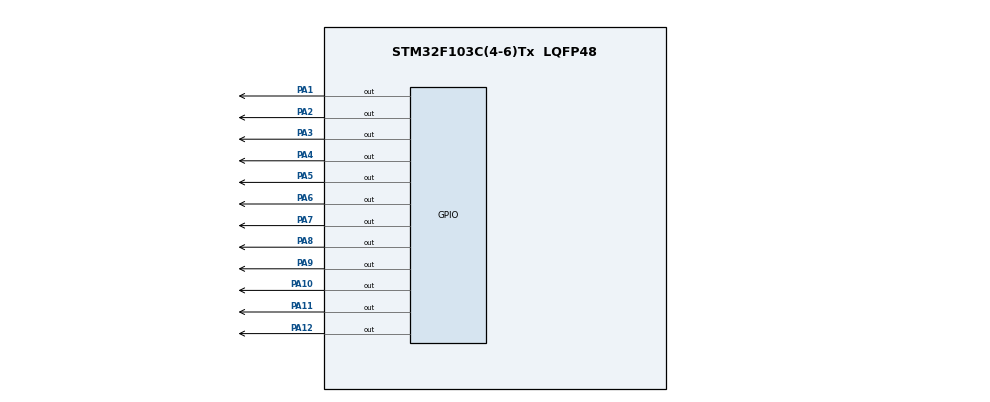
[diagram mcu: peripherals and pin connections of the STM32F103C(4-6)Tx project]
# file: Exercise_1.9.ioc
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Mcu.Family=STM32F1
Mcu.Name=STM32F103C(4-6)Tx
Mcu.Package=LQFP48
NVIC.PriorityGroup=NVIC_PRIORITYGROUP_4
PA1.Signal=GPIO_Output
PA10.Signal=GPIO_Output
PA11.Signal=GPIO_Output
PA12.Signal=GPIO_Output
PA2.Signal=GPIO_Output
PA3.Signal=GPIO_Output
PA4.Signal=GPIO_Output
PA5.Signal=GPIO_Output
PA6.Signal=GPIO_Output
PA7.Signal=GPIO_Output
PA8.Signal=GPIO_Output
PA9.Signal=GPIO_Output
ProjectManager.HeapSize=0x200
ProjectManager.StackSize=0x400
ProjectManager.TargetToolchain=STM32CubeIDE
RCC.APB1Freq_Value=8000000
RCC.APB2Freq_Value=8000000
board=custom

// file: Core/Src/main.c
/* USER CODE BEGIN Header */
/**
  ******************************************************************************
  * @file           : main.c
  * @brief          : Main program body
  ******************************************************************************
  * @attention
  *
  * Copyright (c) 2025 STMicroelectronics.
  * All rights reserved.
  *
  * This software is licensed under terms that can be found in the LICENSE file
  * in the root directory of this software component.
  * If no LICENSE file comes with this software, it is provided AS-IS.
  *
  ******************************************************************************
  */
/* USER CODE END Header */
#include "main.h"

void SystemClock_Config(void);
static void MX_GPIO_Init(void);
/* USER CODE BEGIN PFP */
void ClearNumberOnClock(int num);
/* USER CODE END PFP */

/* USER CODE BEGIN 0 */
void ClearNumberOnClock(int num){
	switch (num){
		case 0:
			HAL_GPIO_WritePin(GPIOA, GPIO_PIN_12, RESET);
			break;
		case 1:
			HAL_GPIO_WritePin(GPIOA, GPIO_PIN_1, RESET);
			break;
		case 2:
			HAL_GPIO_WritePin(GPIOA, GPIO_PIN_2, RESET);
			break;
		case 3:
			HAL_GPIO_WritePin(GPIOA, GPIO_PIN_3, RESET);
			break;
		case 4:
			HAL_GPIO_WritePin(GPIOA, GPIO_PIN_4, RESET);
			break;
		case 5:
			HAL_GPIO_WritePin(GPIOA, GPIO_PIN_5, RESET);
			break;
		case 6:
			HAL_GPIO_WritePin(GPIOA, GPIO_PIN_6, RESET);
			break;
		case 7:
			HAL_GPIO_WritePin(GPIOA, GPIO_PIN_7, RESET);
			break;
		case 8:
			HAL_GPIO_WritePin(GPIOA, GPIO_PIN_8, RESET);
			break;
		case 9:
			HAL_GPIO_WritePin(GPIOA, GPIO_PIN_9, RESET);
			break;
		case 10:
			HAL_GPIO_WritePin(GPIOA, GPIO_PIN_10, RESET);
			break;
		case 11:
			HAL_GPIO_WritePin(GPIOA, GPIO_PIN_11, RESET);
			break;
	}
}
/* USER CODE END 0 */

int main(void)
{

  /* MCU Configuration--------------------------------------------------------*/

  /* Reset of all peripherals, Initializes the Flash interface and the Systick. */
  HAL_Init();

  /* Configure the system clock */
  SystemClock_Config();

  /* Initialize all configured peripherals */
  MX_GPIO_Init();
  /* USER CODE BEGIN 2 */
  int number = 0;
  /* USER CODE END 2 */

  /* Infinite loop */
  /* USER CODE BEGIN WHILE */
  while (1)
  {
	  HAL_Delay(1000);
	  if(number>11){
		  HAL_GPIO_WritePin(GPIOA, GPIO_PIN_1|GPIO_PIN_2|GPIO_PIN_3|GPIO_PIN_4|GPIO_PIN_5|GPIO_PIN_6|GPIO_PIN_7|GPIO_PIN_8|GPIO_PIN_9|GPIO_PIN_10|GPIO_PIN_11|GPIO_PIN_12, GPIO_PIN_SET);
		  number = 0;
	  }
	  ClearNumberOnClock(number);
	  number++;
    /* USER CODE END WHILE */

  }
}

void SystemClock_Config(void)
{
  RCC_OscInitTypeDef RCC_OscInitStruct = {0};
  RCC_ClkInitTypeDef RCC_ClkInitStruct = {0};

  /** Initializes the RCC Oscillators according to the specified parameters
  * in the RCC_OscInitTypeDef structure.
  */
  RCC_OscInitStruct.OscillatorType = RCC_OSCILLATORTYPE_HSI;
  RCC_OscInitStruct.HSIState = RCC_HSI_ON;
  RCC_OscInitStruct.HSICalibrationValue = RCC_HSICALIBRATION_DEFAULT;
  RCC_OscInitStruct.PLL.PLLState = RCC_PLL_NONE;
  if (HAL_RCC_OscConfig(&RCC_OscInitStruct) != HAL_OK)
  {
    Error_Handler();
  }

  /** Initializes the CPU, AHB and APB buses clocks
  */
  RCC_ClkInitStruct.ClockType = RCC_CLOCKTYPE_HCLK|RCC_CLOCKTYPE_SYSCLK
                              |RCC_CLOCKTYPE_PCLK1|RCC_CLOCKTYPE_PCLK2;
  RCC_ClkInitStruct.SYSCLKSource = RCC_SYSCLKSOURCE_HSI;
  RCC_ClkInitStruct.AHBCLKDivider = RCC_SYSCLK_DIV1;
  RCC_ClkInitStruct.APB1CLKDivider = RCC_HCLK_DIV1;
  RCC_ClkInitStruct.APB2CLKDivider = RCC_HCLK_DIV1;

  if (HAL_RCC_ClockConfig(&RCC_ClkInitStruct, FLASH_LATENCY_0) != HAL_OK)
  {
    Error_Handler();
  }
}

static void MX_GPIO_Init(void)
{
  GPIO_InitTypeDef GPIO_InitStruct = {0};

  /* GPIO Ports Clock Enable */
  __HAL_RCC_GPIOA_CLK_ENABLE();

  /*Configure GPIO pin Output Level */
  HAL_GPIO_WritePin(GPIOA, GPIO_PIN_1|GPIO_PIN_2|GPIO_PIN_3|GPIO_PIN_4
                          |GPIO_PIN_5|GPIO_PIN_6|GPIO_PIN_7|GPIO_PIN_8
                          |GPIO_PIN_9|GPIO_PIN_10|GPIO_PIN_11|GPIO_PIN_12, GPIO_PIN_SET);

  /*Configure GPIO pins : PA1 PA2 PA3 PA4
                           PA5 PA6 PA7 PA8
                           PA9 PA10 PA11 PA12 */
  GPIO_InitStruct.Pin = GPIO_PIN_1|GPIO_PIN_2|GPIO_PIN_3|GPIO_PIN_4
                          |GPIO_PIN_5|GPIO_PIN_6|GPIO_PIN_7|GPIO_PIN_8
                          |GPIO_PIN_9|GPIO_PIN_10|GPIO_PIN_11|GPIO_PIN_12;
  GPIO_InitStruct.Mode = GPIO_MODE_OUTPUT_PP;
  GPIO_InitStruct.Pull = GPIO_NOPULL;
  GPIO_InitStruct.Speed = GPIO_SPEED_FREQ_LOW;
  HAL_GPIO_Init(GPIOA, &GPIO_InitStruct);

}

void Error_Handler(void)
{
  __disable_irq();
  while (1)
  {
  }
}
